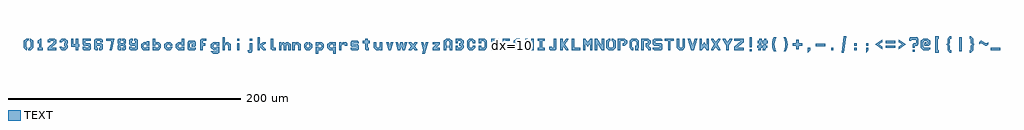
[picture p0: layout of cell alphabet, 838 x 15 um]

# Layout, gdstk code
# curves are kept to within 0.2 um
import gdstk
lib = gdstk.Library(unit=1e-6, precision=1e-09)
def P(c, l, *ps):  # polygons
    for p in ps: c.add(gdstk.Polygon(p, *l))
TEXT = (66, 0)

c_0 = lib.new_cell('0')
P(c_0, TEXT, [(4,8),(3,7),(3,3),(4,2),(3.5,0),(3,0),(1,2),(1,8),(3,10),(5.3,10),(4.8,8),(4,8)],
  [(6,2),(7,3),(7,7),(6,8),(6.5,10),(7,10),(9,8),(9,2),(7,0),(4.7,0),(5.2,2),(6,2)])

c_1 = lib.new_cell('1')
P(c_1, TEXT, [(2,6),(1,6),(1,8),(3,10),(4,10),(4,2),(5,2),(5,0),(1,0),(1,2),(2,2)])

c_2 = lib.new_cell('2')
P(c_2, TEXT, [(1,9),(2,10),(7,10),(8,9),(8,6),(4,2),(8,2),(8,0),(1,0),(1,2),(6,7),(6,8),(3,8),(3,7),(1,7)])

c_3 = lib.new_cell('3')
P(c_3, TEXT, [(6,10),(8,8),(8,6),(7,5),(8,4),(8,2),(6,0),(3,0),(1,2),(1,3),(3,3),(4,2),(5,2),(6,3),(5,4),(5,6),(6,7),(5,8),(4,8),(3,7),(1,7),(1,8),(3,10)])

c_4 = lib.new_cell('4')
P(c_4, TEXT, [(8,5),(8,3),(7,3),(7,0),(5,0),(5,3),(1,3),(1,10),(3,10),(3,5),(5,5),(5,10),(7,10),(7,5),(8,5)])

c_5 = lib.new_cell('5')
P(c_5, TEXT, [(8,8),(3,8),(3,6),(7,6),(8,5),(8,1),(7,0),(2,0),(1,1),(1,3),(3,3),(3,2),(6,2),(6,4),(2,4),(1,5),(1,10),(8,10)])

c_6 = lib.new_cell('6')
P(c_6, TEXT, [(8,7),(6,7),(6,8),(3,8),(3,6),(7,6),(8,5),(8,1),(7,0),(5,0),(5,2),(6,2),(6,4),(3,4),(3,2),(4,2),(4,0),(2,0),(1,1),(1,9),(2,10),(7,10),(8,9)])

c_7 = lib.new_cell('7')
P(c_7, TEXT, [(5.6,8),(1,8),(1,10),(8,10),(6,0),(4,0),(4.8,4),(5.2,6),(5.6,8)])

c_8 = lib.new_cell('8')
P(c_8, TEXT, [(4,8),(3,8),(3,6),(6,6),(6,8),(5,8),(5,10),(7,10),(8,9),(8,6),(7,5),(8,4),(8,1),(7,0),(5,0),(5,2),(6,2),(6,4),(3,4),(3,2),(4,2),(4,0),(2,0),(1,1),(1,4),(2,5),(1,6),(1,9),(2,10),(4,10)])

c_9 = lib.new_cell('9')
P(c_9, TEXT, [(1,3),(3,3),(3,2),(6,2),(6,4),(2,4),(1,5),(1,9),(2,10),(4,10),(4,8),(3,8),(3,6),(6,6),(6,8),(5,8),(5,10),(7,10),(8,9),(8,1),(7,0),(2,0),(1,1)])

c_a = lib.new_cell('a')
P(c_a, TEXT, [(8,0),(3,0),(1,2),(1,5),(3.34,7),(6,7),(6,7.75),(8,7.75),(8,4),(6,4),(6,5),(4,5),(3,4),(3,3),(4,2),(6,2),(6,3),(8,3)])

c_b = lib.new_cell('b')
P(c_b, TEXT, [(1,3),(3,3),(3,2),(5,2),(6,3),(6,4),(5,5),(3,5),(3,4),(1,4),(1,10),(3,10),(3,7),(6,7),(8,5),(8,2),(6,0),(1,0)])

c_c = lib.new_cell('c')
P(c_c, TEXT, [(8,2),(6,0),(3,0),(1,2),(1,5),(3,7),(6,7),(8,5),(8,4),(6,4),(5,5),(4,5),(3,4),(3,3),(4,2),(5,2),(6,3),(8,3)])

c_d = lib.new_cell('d')
P(c_d, TEXT, [(8,0),(3,0),(1,2),(1,5),(3,7),(6,7),(6,10),(8,10),(8,4),(6,4),(6,5),(4,5),(3,4),(3,3),(4,2),(6,2),(6,3),(8,3)])

c_e = lib.new_cell('e')
P(c_e, TEXT, [(2,0),(1,1),(1,7),(2,8),(7,8),(8,7),(8,4),(7,3),(4.4,3),(4.4,5),(6,5),(6,6),(3,6),(3,2),(8,2),(8,1),(7,0)])

c_f = lib.new_cell('f')
P(c_f, TEXT, [(6,8),(3,8),(3,6),(5,6),(5,4),(3,4),(3,0),(1,0),(1,9),(2,10),(6,10),(6,8)])

c_g = lib.new_cell('g')
P(c_g, TEXT, [(8,4),(6,4),(6,5),(4,5),(3,4),(3,3),(4,2),(6,2),(6,3),(8,3),(8,-2),(7,-3),(3,-3),(1,-1),(6,-1),(6,0),(3.34,0),(1,2),(1,5),(3,7),(8,7)])

c_h = lib.new_cell('h')
P(c_h, TEXT, [(6,0),(6,4),(5,5),(4,5),(3,4),(3,0),(1,0),(1,11),(3,11),(3,6),(4,7),(6,7),(8,5),(8,0)])

c_i = lib.new_cell('i')
P(c_i, TEXT, [(1,0),(1,6),(3,6),(3,0),(1,0)],
  [(3,10),(3,8),(1,8),(1,10),(3,10)])

c_j = lib.new_cell('j')
P(c_j, TEXT, [(1,-1),(1,0),(3,0),(3,6),(5,6),(5,-1),(4,-2),(2,-2),(1,-1)],
  [(5,10),(5,8),(3,8),(3,10),(5,10)])

c_k = lib.new_cell('k')
P(c_k, TEXT, [(3,5),(6,7),(8,7),(8,6),(5,4),(8,1),(8,0),(6,0),(3,3),(3,0),(1,0),(1,11),(3,11)])

c_l = lib.new_cell('l')
P(c_l, TEXT, [(5,0),(2,0),(1,1),(1,10),(3,10),(3,2),(5,2),(5,0)])

c_m = lib.new_cell('m')
P(c_m, TEXT, [(5,4),(4,5),(3,4),(3,0),(1,0),(1,7),(3,7),(3,6),(4,7),(5,7),(6,6),(7,7),(9,7),(11,5),(11,0),(9,0),(9,4),(8,5),(7,4),(7,0),(5,0)])

c_n = lib.new_cell('n')
P(c_n, TEXT, [(6,0),(6,4),(5,5),(4,5),(3,4),(3,0),(1,0),(1,7),(3,7),(3,6),(4,7),(6,7),(8,5),(8,0)])

c_o = lib.new_cell('o')
P(c_o, TEXT, [(6,7),(8,5),(8,2),(6,0),(3,0),(1,2),(1,5),(3,7),(4,7),(4,5),(3,4),(3,3),(4,2),(5,2),(6,3),(6,4),(5,5),(5,7)])

c_p = lib.new_cell('p')
P(c_p, TEXT, [(1,7),(6,7),(8,5),(8,2),(6,0),(3,0),(3,-3),(1,-3),(1,3),(3,3),(3,2),(5,2),(6,3),(6,4),(5,5),(3,5),(3,4),(1,4)])

c_q = lib.new_cell('q')
P(c_q, TEXT, [(8,4),(6,4),(6,5),(4,5),(3,4),(3,3),(4,2),(6,2),(6,3),(8,3),(8,-3),(6,-3),(6,0),(3,0),(1,2),(1,5),(3,7),(8,7)])

c_r = lib.new_cell('r')
P(c_r, TEXT, [(6,4),(6,5),(4,5),(3,4),(3,0),(1,0),(1,7),(3,7),(3,6),(4,7),(7,7),(8,6),(8,4)])

c_s = lib.new_cell('s')
P(c_s, TEXT, [(2,0),(1,1),(1,2),(6,2),(6,3),(2,3),(1,4),(1,7),(2,8),(7,8),(8,7),(8,6),(3,6),(3,5),(7,5),(8,4),(8,1),(7,0)])

c_t = lib.new_cell('t')
P(c_t, TEXT, [(6,0),(4,0),(3,1),(3,6),(1,6),(1,8),(3,8),(3,10),(5,10),(5,8),(7,8),(7,6),(5,6),(5,2),(6,2)])

c_u = lib.new_cell('u')
P(c_u, TEXT, [(3,7),(3,3),(4,2),(5,2),(6,3),(6,7),(8,7),(8,0),(6,0),(6,1),(5,0),(3,0),(1,2),(1,7)])

c_v = lib.new_cell('v')
P(c_v, TEXT, [(3,0),(1,7),(3,7),(4,3.5),(5,7),(7,7),(5,0),(3,0)])

c_w = lib.new_cell('w')
P(c_w, TEXT, [(6,3.5),(5,0),(3,0),(1,7),(3,7),(4,3.5),(5,7),(7,7),(8,3.5),(9,7),(11,7),(9,0),(7,0)])

c_x = lib.new_cell('x')
P(c_x, TEXT, [(3.08,3.5),(1,6),(1,7),(3,7),(4.5,5.2),(6,7),(8,7),(8,6),(5.92,3.5),(8,1),(8,0),(6,0),(4.5,1.8),(3,0),(1,0),(1,1)])

c_y = lib.new_cell('y')
P(c_y, TEXT, [(2.14,-3),(3,0),(1,7),(3,7),(4,3.5),(5,7),(7,7),(5,0),(4.14,-3),(2.14,-3)])

c_z = lib.new_cell('z')
P(c_z, TEXT, [(1,5),(1,7),(7,7),(7,5),(4,2),(7,2),(7,0),(1,0),(1,2),(4,5),(1,5)])

c_a_ = lib.new_cell('A')
P(c_a_, TEXT, [(1,8),(3,10),(6.01,10),(8,8),(8,0),(6.01,0),(6.01,2),(5,2),(5,4),(6.01,4),(6.01,7),(5,8),(4,8),(3,7),(3,4),(4,4),(4,2),(3,2),(3,0),(0.99,0)])

c_b_ = lib.new_cell('B')
P(c_b_, TEXT, [(6,10),(8,8),(8,6),(7,5),(8,4),(8,2),(6,0),(1,0),(1,4),(3,4),(3,2),(5,2),(6,3),(5,4),(4.2,4),(4.2,6),(5,6),(6,7),(5,8),(3,8),(3,6),(1,6),(1,10)])

c_c_ = lib.new_cell('C')
P(c_c_, TEXT, [(3,0),(1,2),(1,8),(3,10),(6,10),(8,8),(8,6),(6,6),(6,7),(5,8),(4,8),(3,7),(3,3),(4,2),(5,2),(6,3),(6,4),(8,4),(8,2),(6,0)])

c_d_ = lib.new_cell('D')
P(c_d_, TEXT, [(1,0),(1,4),(3,4),(3,2),(5,2),(6,3),(6,7),(5,8),(3,8),(3,6),(1,6),(1,10),(6,10),(8,8),(8,2),(6,0)])

c_e_ = lib.new_cell('E')
P(c_e_, TEXT, [(7,10),(7,8),(3,8),(3,6),(5,6),(5,4),(3,4),(3,2),(7,2),(7,0),(1,0),(1,10),(7,10)])

c_f_ = lib.new_cell('F')
P(c_f_, TEXT, [(1,0),(1,10),(7,10),(7,8),(3,8),(3,6),(5,6),(5,4),(3,4),(3,0),(1,0)])

c_g_ = lib.new_cell('G')
P(c_g_, TEXT, [(3,0),(1,2),(1,8),(3,10),(6,10),(8,8),(8,7),(6,7),(5,8),(4,8),(3,7),(3,3),(4,2),(6,2),(6,3),(5,3),(5,5),(8,5),(8,1),(7,0)])

c_h_ = lib.new_cell('H')
P(c_h_, TEXT, [(1,10),(3,10),(3,6),(6,6),(6,10),(8,10),(8,0),(6,0),(6,4),(3,4),(3,0),(1,0),(1,10)])

c_i_ = lib.new_cell('I')
P(c_i_, TEXT, [(1,0),(1,2),(3,2),(3,8),(1,8),(1,10),(7,10),(7,8),(5,8),(5,2),(7,2),(7,0),(1,0)])

c_j_ = lib.new_cell('J')
P(c_j_, TEXT, [(3,2),(5,2),(5,10),(7,10),(7,1),(6,0),(2,0),(1,1),(1,3),(3,3),(3,2)])

c_k_ = lib.new_cell('K')
P(c_k_, TEXT, [(1,10),(3,10),(3,6),(6,10),(8,10),(8,9),(5,5),(8,1),(8,0),(6,0),(3,4),(3,0),(1,0)])

c_l_ = lib.new_cell('L')
P(c_l_, TEXT, [(1,10),(3,10),(3,2),(8,2),(8,0),(1,0),(1,10)])

c_m_ = lib.new_cell('M')
P(c_m_, TEXT, [(1,10),(3,10),(5,7),(7,10),(9,10),(9,0),(7,0),(7,6),(5,3),(3,6),(3,0),(1,0)])

c_n_ = lib.new_cell('N')
P(c_n_, TEXT, [(1,10),(3,10),(7,4),(7,10),(9,10),(9,0),(7,0),(3,6),(3,0),(1,0),(1,10)])

c_o_ = lib.new_cell('O')
P(c_o_, TEXT, [(1,8),(3,10),(4.3,10),(4.3,8),(3,7),(3,3),(4,2),(6,2),(7,3),(7,7),(5.7,8),(5.7,10),(7,10),(9,8),(9,2),(7,0),(3,0),(1,2)])

c_p_ = lib.new_cell('P')
P(c_p_, TEXT, [(1,10),(7,10),(9,8),(9,6),(7,4),(5,4),(5,6),(6,6),(7,7),(6,8),(3,8),(3,0),(1,0)])

c_q_ = lib.new_cell('Q')
P(c_q_, TEXT, [(1,8),(3,10),(7,10),(9,8),(9,2),(8,1),(9,0),(6,0),(6,4),(7,4),(7,7),(6,8),(4,8),(3,7),(3,3),(4,2),(4,0),(3,0),(1,2)])

c_r_ = lib.new_cell('R')
P(c_r_, TEXT, [(1,10),(7,10),(9,8),(9,6),(7,4),(9,2),(9,0),(7,0),(7,1),(5,3),(5,6),(6,6),(7,7),(6,8),(3,8),(3,0),(1,0)])

c_s_ = lib.new_cell('S')
P(c_s_, TEXT, [(9,8),(3,8),(3,6),(8,6),(9,5),(9,1),(8,0),(2,0),(1,1),(1,2),(7,2),(7,4),(2,4),(1,5),(1,9),(2,10),(8,10),(9,9)])

c_t_ = lib.new_cell('T')
P(c_t_, TEXT, [(9,10),(9,8),(6,8),(6,0),(4,0),(4,8),(1,8),(1,10),(9,10)])

c_u_ = lib.new_cell('U')
P(c_u_, TEXT, [(3,10),(3,3),(4,2),(5,2),(6,3),(6,10),(8,10),(8,2),(6,0),(3,0),(1,2),(1,10)])

c_v_ = lib.new_cell('V')
P(c_v_, TEXT, [(3,10),(5,4),(7,10),(9,10),(6,0),(4,0),(1,10),(3,10)])

c_w_ = lib.new_cell('W')
P(c_w_, TEXT, [(1,10),(3,10),(3,4),(5,7),(7,4),(7,10),(9,10),(9,0),(7,0),(5,3),(3,0),(1,0)])

c_x_ = lib.new_cell('X')
P(c_x_, TEXT, [(3.67,5),(1,9),(1,10),(3,10),(5,7),(7,10),(9,10),(9,9),(6.33,5),(9,1),(9,0),(7,0),(5,3),(3,0),(1,0),(1,1)])

c_y_ = lib.new_cell('Y')
P(c_y_, TEXT, [(6,4.5),(6,0),(4,0),(4,4.5),(1,9),(1,10),(3,10),(5,7),(7,10),(9,10),(9,9),(6,4.5)])

c_z_ = lib.new_cell('Z')
P(c_z_, TEXT, [(1,10),(9,10),(9,7),(3,2),(9,2),(9,0),(1,0),(1,3),(7,8),(1,8),(1,10)])

c__ = lib.new_cell('!')
P(c__, TEXT, [(1,-1),(1,1),(3,1),(3,-1),(1,-1)],
  [(1,2.5),(1,11),(3,11),(3,2.5),(1,2.5)])

c___ = lib.new_cell('#')
P(c___, TEXT, [(1.5,0),(1.7,2),(0.5,2),(0.5,4),(1.9,4),(2.1,6),(1,6),(1,8),(2.3,8),(2.5,10),(4.5,10),(3.9,4),(5.3,4),(5.1,2),(3.7,2),(3.5,0)],
  [(5.5,0),(6.1,6),(4.7,6),(4.9,8),(6.3,8),(6.5,10),(8.5,10),(8.3,8),(9.5,8),(9.5,6),(8.1,6),(7.9,4),(9,4),(9,2),(7.7,2),(7.5,0)])

c____ = lib.new_cell('(')
P(c____, TEXT, [(1,5),(1.25,7),(2.5,11),(4.5,11),(3.75,9),(3,5),(3.25,3),(4.5,-1),(2.5,-1),(1.75,1)])

c_____ = lib.new_cell(')')
P(c_____, TEXT, [(1,11),(3,11),(4.25,7),(4.5,5),(4.25,3),(3,-1),(1,-1),(1.75,1),(2.5,5),(2.25,7)])

c______ = lib.new_cell('+')
P(c______, TEXT, [(4,6),(4,9),(6,9),(6,6),(9,6),(9,4),(6,4),(6,1),(4,1),(4,4),(1,4),(1,6),(4,6)])

c_______ = lib.new_cell(',')
P(c_______, TEXT, [(3,2),(3,0),(1,-2),(1,2),(3,2)])

c________ = lib.new_cell('-')
P(c________, TEXT, [(9,5.5),(9,3.5),(1,3.5),(1,5.5),(9,5.5)])

c_________ = lib.new_cell('.')
P(c_________, TEXT, [(3,2),(3,0),(1,0),(1,2),(3,2)])

c__________ = lib.new_cell('/')
P(c__________, TEXT, [(5,12),(3,-2),(1,-2),(3,12),(5,12)])

c___________ = lib.new_cell(':')
P(c___________, TEXT, [(3,2),(3,0),(1,0),(1,2),(3,2)],
  [(3,6),(3,4),(1,4),(1,6),(3,6)])

c____________ = lib.new_cell(';')
P(c____________, TEXT, [(3,2),(3,0),(1,-2),(1,2),(3,2)],
  [(3,6),(3,4),(1,4),(1,6),(3,6)])

c_____________ = lib.new_cell('<')
P(c_____________, TEXT, [(7,9),(7,7),(4,5),(7,3),(7,1),(1,5),(7,9)])

c______________ = lib.new_cell('=')
P(c______________, TEXT, [(1,4),(9,4),(9,2),(1,2),(1,4)],
  [(1,8),(9,8),(9,6),(1,6),(1,8)])

c_______________ = lib.new_cell('>')
P(c_______________, TEXT, [(7,5),(1,1),(1,3),(4,5),(1,7),(1,9),(7,5)])

c________________ = lib.new_cell('?')
P(c________________, TEXT, [(1,10),(2,11),(8,11),(9,10),(9,5),(8,4),(6,4),(6,2),(4,2),(4,5),(5,6),(7,6),(7,9),(3,9),(3,8),(1,8)],
  [(6,0.5),(6,-1.5),(4,-1.5),(4,0.5),(6,0.5)])

c_________________ = lib.new_cell('@')
P(c_________________, TEXT, [(9,2),(9,1),(8,0),(3,0),(1,2),(1,8),(3,10),(7,10),(9,8),(9,5),(8,4),(4.5,4),(4,4.5),(4,6),(4.5,7),(6,7),(5.5,6),(5.5,5),(7,5),(7,7),(6,8),(4,8),(3,7),(3,3),(4,2)])

c__________________ = lib.new_cell('[')
P(c__________________, TEXT, [(4,12),(4,10),(3,10),(3,0),(4,0),(4,-2),(1,-2),(1,12),(4,12)])

c___________________ = lib.new_cell('{')
P(c___________________, TEXT, [(1,5),(2,6),(2,10),(4,12),(5,12),(5,10),(4,10),(4,6),(3,5),(4,4),(4,0),(5,0),(5,-2),(4,-2),(2,0),(2,4)])

c____________________ = lib.new_cell('|')
P(c____________________, TEXT, [(1,-1),(1,11),(3,11),(3,-1),(1,-1)])

c_____________________ = lib.new_cell('}')
P(c_____________________, TEXT, [(5,5),(4,6),(4,10),(2,12),(1,12),(1,10),(2,10),(2,6),(3,5),(2,4),(2,0),(1,0),(1,-2),(2,-2),(4,0),(4,4)])

c______________________ = lib.new_cell('~')
P(c______________________, TEXT, [(1,7),(2.5,8),(3.5,8),(6.5,6),(7.5,6),(9,7),(9,5),(7.5,4),(6.5,4),(3.5,6),(2.5,6),(1,5)])

c_______________________ = lib.new_cell('_')
P(c_______________________, TEXT, [(1,2),(9,2),(9,0),(1,0),(1,2)])

alphabet = lib.new_cell('alphabet')
alphabet.add(gdstk.Reference(c_0, (-5,0)))
alphabet.add(gdstk.Reference(c_1, (7,0)))
alphabet.add(gdstk.Reference(c_2, (15.5,0)))
alphabet.add(gdstk.Reference(c_3, (25.5,0)))
alphabet.add(gdstk.Reference(c_4, (35.5,0)))
alphabet.add(gdstk.Reference(c_5, (45.5,0)))
alphabet.add(gdstk.Reference(c_6, (55.5,0)))
alphabet.add(gdstk.Reference(c_7, (65.5,0)))
alphabet.add(gdstk.Reference(c_8, (75.5,0)))
alphabet.add(gdstk.Reference(c_9, (85.5,0)))
alphabet.add(gdstk.Reference(c_a, (95.5,0)))
alphabet.add(gdstk.Reference(c_b, (105.5,0)))
alphabet.add(gdstk.Reference(c_c, (115.5,0)))
alphabet.add(gdstk.Reference(c_d, (125.5,0)))
alphabet.add(gdstk.Reference(c_e, (135.5,0)))
alphabet.add(gdstk.Reference(c_f, (146.5,0)))
alphabet.add(gdstk.Reference(c_g, (155.5,0)))
alphabet.add(gdstk.Reference(c_h, (165.5,0)))
alphabet.add(gdstk.Reference(c_i, (178,0)))
alphabet.add(gdstk.Reference(c_j, (187,0)))
alphabet.add(gdstk.Reference(c_k, (195.5,0)))
alphabet.add(gdstk.Reference(c_l, (207,0)))
alphabet.add(gdstk.Reference(c_m, (214,0)))
alphabet.add(gdstk.Reference(c_n, (225.5,0)))
alphabet.add(gdstk.Reference(c_o, (235.5,0)))
alphabet.add(gdstk.Reference(c_p, (245.5,0)))
alphabet.add(gdstk.Reference(c_q, (255.5,0)))
alphabet.add(gdstk.Reference(c_r, (265.5,0)))
alphabet.add(gdstk.Reference(c_s, (275.5,0)))
alphabet.add(gdstk.Reference(c_t, (286,0)))
alphabet.add(gdstk.Reference(c_u, (295.5,0)))
alphabet.add(gdstk.Reference(c_v, (306,0)))
alphabet.add(gdstk.Reference(c_w, (314,0)))
alphabet.add(gdstk.Reference(c_x, (325.5,0)))
alphabet.add(gdstk.Reference(c_y, (336,0)))
alphabet.add(gdstk.Reference(c_z, (346,0)))
alphabet.add(gdstk.Reference(c_a_, (355.505,0)))
alphabet.add(gdstk.Reference(c_b_, (365.5,0)))
alphabet.add(gdstk.Reference(c_c_, (375.5,0)))
alphabet.add(gdstk.Reference(c_d_, (385.5,0)))
alphabet.add(gdstk.Reference(c_e_, (396,0)))
alphabet.add(gdstk.Reference(c_f_, (406,0)))
alphabet.add(gdstk.Reference(c_g_, (415.5,0)))
alphabet.add(gdstk.Reference(c_h_, (425.5,0)))
alphabet.add(gdstk.Reference(c_i_, (436,0)))
alphabet.add(gdstk.Reference(c_j_, (446,0)))
alphabet.add(gdstk.Reference(c_k_, (455.5,0)))
alphabet.add(gdstk.Reference(c_l_, (465.5,0)))
alphabet.add(gdstk.Reference(c_m_, (475,0)))
alphabet.add(gdstk.Reference(c_n_, (485,0)))
alphabet.add(gdstk.Reference(c_o_, (495,0)))
alphabet.add(gdstk.Reference(c_p_, (505,0)))
alphabet.add(gdstk.Reference(c_q_, (515,0)))
alphabet.add(gdstk.Reference(c_r_, (525,0)))
alphabet.add(gdstk.Reference(c_s_, (535,0)))
alphabet.add(gdstk.Reference(c_t_, (545,0)))
alphabet.add(gdstk.Reference(c_u_, (555.5,0)))
alphabet.add(gdstk.Reference(c_v_, (565,0)))
alphabet.add(gdstk.Reference(c_w_, (575,0)))
alphabet.add(gdstk.Reference(c_x_, (585,0)))
alphabet.add(gdstk.Reference(c_y_, (595,0)))
alphabet.add(gdstk.Reference(c_z_, (605,0)))
alphabet.add(gdstk.Reference(c__, (618,0)))
alphabet.add(gdstk.Reference(c___, (625,0)))
alphabet.add(gdstk.Reference(c____, (637.25,0)))
alphabet.add(gdstk.Reference(c_____, (647.25,0)))
alphabet.add(gdstk.Reference(c______, (655,0)))
alphabet.add(gdstk.Reference(c_______, (668,0)))
alphabet.add(gdstk.Reference(c________, (675,0)))
alphabet.add(gdstk.Reference(c_________, (688,0)))
alphabet.add(gdstk.Reference(c__________, (697,0)))
alphabet.add(gdstk.Reference(c___________, (708,0)))
alphabet.add(gdstk.Reference(c____________, (718,0)))
alphabet.add(gdstk.Reference(c_____________, (726,0)))
alphabet.add(gdstk.Reference(c______________, (735,0)))
alphabet.add(gdstk.Reference(c_______________, (746,0)))
alphabet.add(gdstk.Reference(c________________, (755,0)))
alphabet.add(gdstk.Reference(c_________________, (765,0)))
alphabet.add(gdstk.Reference(c__________________, (777.5,0)))
alphabet.add(gdstk.Reference(c___________________, (787,0)))
alphabet.add(gdstk.Reference(c____________________, (798,0)))
alphabet.add(gdstk.Reference(c_____________________, (807,0)))
alphabet.add(gdstk.Reference(c______________________, (815,0)))
alphabet.add(gdstk.Reference(c_______________________, (825,0)))
alphabet.add(gdstk.Label('dx=10', (415,4.5), layer=66, texttype=0))

lib.write_gds('alphabet.gds')
